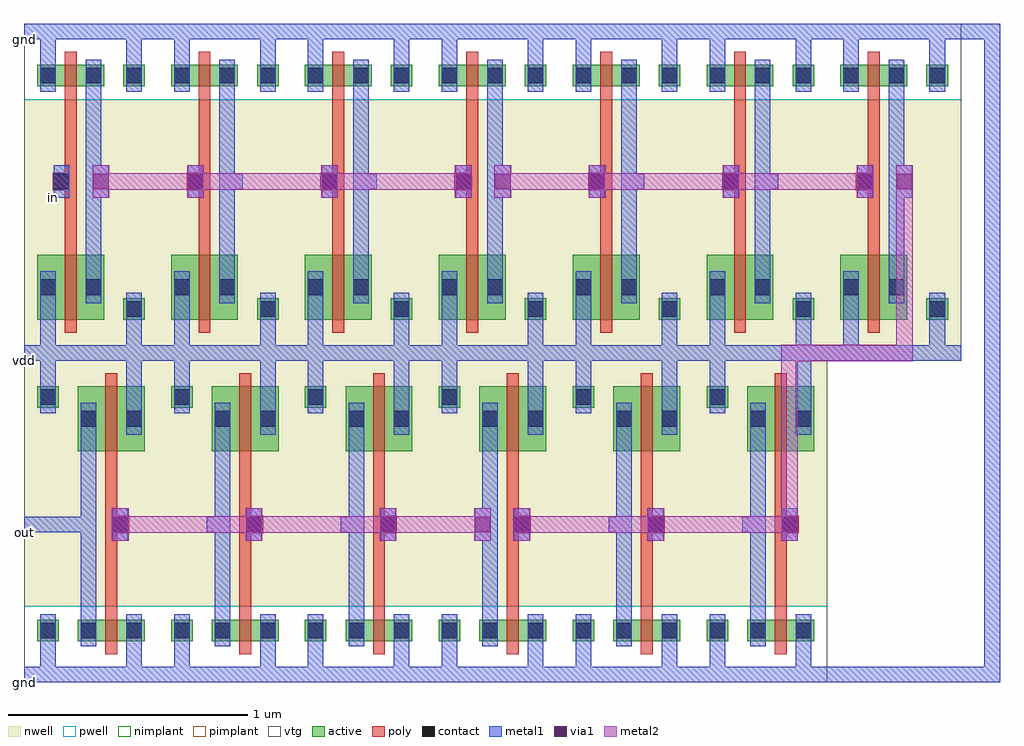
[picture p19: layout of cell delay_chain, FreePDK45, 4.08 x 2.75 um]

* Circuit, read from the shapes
.subckt delay_chain gnd in out vdd
M1 pinv_6_1/A in gnd gnd nfet w=0.09u l=0.05u
M2 gnd pinv_6_19/A out gnd nfet w=0.09u l=0.05u
M3 pinv_6_1/Z pinv_6_1/A gnd gnd nfet w=0.09u l=0.05u
M4 gnd pinv_6_19/A pinv_6_21/Z gnd nfet w=0.09u l=0.05u
M5 pinv_6_3/Z pinv_6_1/A gnd gnd nfet w=0.09u l=0.05u
M6 gnd pinv_6_19/A pinv_6_19/Z gnd nfet w=0.09u l=0.05u
M7 pinv_6_11/A pinv_6_1/A gnd gnd nfet w=0.09u l=0.05u
M8 gnd pinv_6_13/A pinv_6_19/A gnd nfet w=0.09u l=0.05u
M9 pinv_6_36/Z pinv_6_11/A gnd gnd nfet w=0.09u l=0.05u
M10 gnd pinv_6_13/A pinv_6_15/Z gnd nfet w=0.09u l=0.05u
M11 pinv_6_38/Z pinv_6_11/A gnd gnd nfet w=0.09u l=0.05u
M12 gnd pinv_6_13/A pinv_6_13/Z gnd nfet w=0.09u l=0.05u
M13 pinv_6_13/A pinv_6_11/A gnd gnd nfet w=0.09u l=0.05u
M14 pinv_6_1/A in vdd vdd pfet w=0.27u l=0.05u
M15 vdd pinv_6_19/A out vdd pfet w=0.27u l=0.05u
M16 pinv_6_1/Z pinv_6_1/A vdd vdd pfet w=0.27u l=0.05u
M17 vdd pinv_6_19/A pinv_6_21/Z vdd pfet w=0.27u l=0.05u
M18 pinv_6_3/Z pinv_6_1/A vdd vdd pfet w=0.27u l=0.05u
M19 vdd pinv_6_19/A pinv_6_19/Z vdd pfet w=0.27u l=0.05u
M20 pinv_6_11/A pinv_6_1/A vdd vdd pfet w=0.27u l=0.05u
M21 vdd pinv_6_13/A pinv_6_19/A vdd pfet w=0.27u l=0.05u
M22 pinv_6_36/Z pinv_6_11/A vdd vdd pfet w=0.27u l=0.05u
M23 vdd pinv_6_13/A pinv_6_15/Z vdd pfet w=0.27u l=0.05u
M24 pinv_6_38/Z pinv_6_11/A vdd vdd pfet w=0.27u l=0.05u
M25 vdd pinv_6_13/A pinv_6_13/Z vdd pfet w=0.27u l=0.05u
M26 pinv_6_13/A pinv_6_11/A vdd vdd pfet w=0.27u l=0.05u
.ends

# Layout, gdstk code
from math import pi, radians
import gdstk
lib = gdstk.Library(unit=1e-6, precision=5e-10)
def R(c, l, rs):  # rectangles x0, y0, x1, y1
    for r in rs: c.add(gdstk.rectangle(r[:2], r[2:], *l))
active = (1, 0)
pwell = (2, 0)
nwell = (3, 0)
nimplant = (4, 0)
pimplant = (5, 0)
vtg = (6, 0)
poly = (9, 0)
contact = (10, 0)
metal1 = (11, 0)
via1 = (12, 0)
metal2 = (13, 0)

active_contact_metal1_1x = lib.new_cell('active_contact_metal1_1x1_pn')
R(active_contact_metal1_1x, active, [(0,0.0225,0.09,0.1125), (0,0.0225,0.09,0.1125)])
R(active_contact_metal1_1x, nwell, [(-0.055,-0.0325,0.145,0.1675), (-0.055,-0.0325,0.145,0.1675)])
R(active_contact_metal1_1x, pimplant, [(0,0.0225,0.09,0.1125), (0,0.0225,0.09,0.1125)])
R(active_contact_metal1_1x, contact, [(0.0125,0.035,0.0775,0.1), (0.0125,0.035,0.0775,0.1)])
R(active_contact_metal1_1x, metal1, [(0.0125,0,0.0775,0.135), (0.0125,0,0.0775,0.135)])

pmos_m1_w0_27_a_p = lib.new_cell('pmos_m1_w0_27_a_p')
R(pmos_m1_w0_27_a_p, active, [(0,0,0.28,0.27), (0,0,0.28,0.27)])
R(pmos_m1_w0_27_a_p, nwell, [(-0.055,-0.055,0.335,0.325), (-0.055,-0.055,0.335,0.325)])
R(pmos_m1_w0_27_a_p, pimplant, [(0,0,0.28,0.27), (0,0,0.28,0.27)])
R(pmos_m1_w0_27_a_p, vtg, [(-0.055,-0.055,0.335,0.325), (-0.055,-0.055,0.335,0.325)])
R(pmos_m1_w0_27_a_p, poly, [(0.115,-0.055,0.165,0.325), (0.115,-0.055,0.165,0.325), (0.115,-0.055,0.165,0.325), (0.115,-0.055,0.165,0.325)])
R(pmos_m1_w0_27_a_p, metal1, [(0.0125,0.0675,0.0775,0.2025), (0.0125,0.0675,0.0775,0.2025), (0.2025,0.0675,0.2675,0.2025), (0.2025,0.0675,0.2675,0.2025)])
pmos_m1_w0_27_a_p.add(gdstk.Reference(active_contact_metal1_1x, (0,0.0675)))
pmos_m1_w0_27_a_p.add(gdstk.Reference(active_contact_metal1_1x, (0.19,0.0675)))
pmos_m1_w0_27_a_p.add(gdstk.Reference(active_contact_metal1_1x, (0,0.0675)))
pmos_m1_w0_27_a_p.add(gdstk.Reference(active_contact_metal1_1x, (0.19,0.0675)))
pmos_m1_w0_27_a_p.add(gdstk.Label('S', (0.0125,0.0675), layer=11, texttype=0))
pmos_m1_w0_27_a_p.add(gdstk.Label('D', (0.2025,0.0675), layer=11, texttype=0))
pmos_m1_w0_27_a_p.add(gdstk.Label('G', (0.115,-0.055), layer=9, texttype=0))
pmos_m1_w0_27_a_p.add(gdstk.Label('S', (0.0125,0.0675), layer=11, texttype=0))
pmos_m1_w0_27_a_p.add(gdstk.Label('D', (0.2025,0.0675), layer=11, texttype=0))
pmos_m1_w0_27_a_p.add(gdstk.Label('G', (0.115,-0.055), layer=9, texttype=0))

c_active_contact_metal1_1x = lib.new_cell('active_contact_metal1_1x1_np')
R(c_active_contact_metal1_1x, active, [(0,0.0225,0.09,0.1125)])
R(c_active_contact_metal1_1x, pwell, [(-0.055,-0.0325,0.145,0.1675)])
R(c_active_contact_metal1_1x, nimplant, [(0,0.0225,0.09,0.1125)])
R(c_active_contact_metal1_1x, contact, [(0.0125,0.035,0.0775,0.1)])
R(c_active_contact_metal1_1x, metal1, [(0.0125,0,0.0775,0.135)])

nmos_m1_w0_09_a_p = lib.new_cell('nmos_m1_w0_09_a_p')
R(nmos_m1_w0_09_a_p, active, [(0,0,0.28,0.09), (0,0,0.28,0.09)])
R(nmos_m1_w0_09_a_p, pwell, [(-0.055,-0.055,0.335,0.145), (-0.055,-0.055,0.335,0.145)])
R(nmos_m1_w0_09_a_p, nimplant, [(0,0,0.28,0.09), (0,0,0.28,0.09)])
R(nmos_m1_w0_09_a_p, vtg, [(-0.055,-0.055,0.335,0.145), (-0.055,-0.055,0.335,0.145)])
R(nmos_m1_w0_09_a_p, poly, [(0.115,-0.055,0.165,0.145), (0.115,-0.055,0.165,0.145), (0.115,-0.055,0.165,0.145), (0.115,-0.055,0.165,0.145)])
R(nmos_m1_w0_09_a_p, metal1, [(0.0125,-0.0225,0.0775,0.1125), (0.0125,-0.0225,0.0775,0.1125), (0.2025,-0.0225,0.2675,0.1125), (0.2025,-0.0225,0.2675,0.1125)])
nmos_m1_w0_09_a_p.add(gdstk.Reference(c_active_contact_metal1_1x, (0,-0.0225)))
nmos_m1_w0_09_a_p.add(gdstk.Reference(c_active_contact_metal1_1x, (0.19,-0.0225)))
nmos_m1_w0_09_a_p.add(gdstk.Reference(c_active_contact_metal1_1x, (0,-0.0225)))
nmos_m1_w0_09_a_p.add(gdstk.Reference(c_active_contact_metal1_1x, (0.19,-0.0225)))
nmos_m1_w0_09_a_p.add(gdstk.Label('S', (0.0125,-0.0225), layer=11, texttype=0))
nmos_m1_w0_09_a_p.add(gdstk.Label('D', (0.2025,-0.0225), layer=11, texttype=0))
nmos_m1_w0_09_a_p.add(gdstk.Label('G', (0.115,-0.055), layer=9, texttype=0))
nmos_m1_w0_09_a_p.add(gdstk.Label('S', (0.0125,-0.0225), layer=11, texttype=0))
nmos_m1_w0_09_a_p.add(gdstk.Label('D', (0.2025,-0.0225), layer=11, texttype=0))
nmos_m1_w0_09_a_p.add(gdstk.Label('G', (0.115,-0.055), layer=9, texttype=0))

c_active_contact_metal1_1x_ = lib.new_cell('active_contact_metal1_1x1_nn')
R(c_active_contact_metal1_1x_, active, [(0,0.0225,0.09,0.1125), (0,0.0225,0.09,0.1125)])
R(c_active_contact_metal1_1x_, nwell, [(-0.055,-0.0325,0.145,0.1675), (-0.055,-0.0325,0.145,0.1675)])
R(c_active_contact_metal1_1x_, nimplant, [(0,0.0225,0.09,0.1125), (0,0.0225,0.09,0.1125)])
R(c_active_contact_metal1_1x_, contact, [(0.0125,0.035,0.0775,0.1), (0.0125,0.035,0.0775,0.1)])
R(c_active_contact_metal1_1x_, metal1, [(0.0125,0,0.0775,0.135), (0.0125,0,0.0775,0.135)])

c_active_contact_metal1_1x__ = lib.new_cell('active_contact_metal1_1x1_pp')
R(c_active_contact_metal1_1x__, active, [(0,0.0225,0.09,0.1125)])
R(c_active_contact_metal1_1x__, pwell, [(-0.055,-0.0325,0.145,0.1675)])
R(c_active_contact_metal1_1x__, pimplant, [(0,0.0225,0.09,0.1125)])
R(c_active_contact_metal1_1x__, contact, [(0.0125,0.035,0.0775,0.1)])
R(c_active_contact_metal1_1x__, metal1, [(0.0125,0,0.0775,0.135)])

poly_contact_metal1_1x1 = lib.new_cell('poly_contact_metal1_1x1')
R(poly_contact_metal1_1x1, poly, [(0,0.03,0.075,0.105), (0,0.03,0.075,0.105)])
R(poly_contact_metal1_1x1, contact, [(0.005,0.035,0.07,0.1), (0.005,0.035,0.07,0.1)])
R(poly_contact_metal1_1x1, metal1, [(0.005,0,0.07,0.135), (0.005,0,0.07,0.135)])

pinv_6 = lib.new_cell('pinv_6')
R(pinv_6, pwell, [(0,-0.0325,0.56,0.285)])
R(pinv_6, nwell, [(0,0.285,0.56,1.3775)])
R(pinv_6, vtg, [(0,-0.0325,0.56,0.285), (0,0.285,0.56,1.3775)])
R(pinv_6, poly, [(0.17,0.085,0.22,0.88), (0.1575,0.59,0.17,0.665)])
R(pinv_6, metal1, [(0,-0.0325,0.56,0.0325), (0.0675,-0.0325,0.1325,0.1175), (0.4275,0,0.4925,0.185), (0.2575,0.1175,0.3225,1.0025), (0.125,0.56,0.19,0.695), (0.29,0.595,0.355,0.66), (0.0675,1.0025,0.1325,1.3775), (0.4275,1.16,0.4925,1.345), (0,1.3125,0.56,1.3775)])
pinv_6.add(gdstk.Reference(pmos_m1_w0_27_a_p, (0.055,0.935)))
pinv_6.add(gdstk.Reference(nmos_m1_w0_09_a_p, (0.055,0.14)))
pinv_6.add(gdstk.Reference(c_active_contact_metal1_1x_, (0.415,1.0925)))
pinv_6.add(gdstk.Reference(c_active_contact_metal1_1x__, (0.415,0.1175)))
pinv_6.add(gdstk.Reference(poly_contact_metal1_1x1, (0.12,0.56)))
pinv_6.add(gdstk.Label('A', (0.125,0.56), layer=11, texttype=0))
pinv_6.add(gdstk.Label('Z', (0.29,0.595), layer=11, texttype=0))
pinv_6.add(gdstk.Label('vdd', (0,1.3125), layer=11, texttype=0))
pinv_6.add(gdstk.Label('gnd', (0,-0.0325), layer=11, texttype=0))

metal1_via1_metal2_1x1 = lib.new_cell('metal1_via1_metal2_1x1')
R(metal1_via1_metal2_1x1, metal1, [(0.0025,0,0.0675,0.135), (0.0025,0,0.0675,0.135)])
R(metal1_via1_metal2_1x1, via1, [(0.0025,0.035,0.0675,0.1), (0.0025,0.035,0.0675,0.1)])
R(metal1_via1_metal2_1x1, metal2, [(0,0,0.07,0.135), (0,0,0.07,0.135)])

delay_chain = lib.new_cell('delay_chain')
R(delay_chain, metal1, [(0,-0.0325,3.92,0.0325), (0,-0.0325,3.92,0.0325), (3.92,-0.0325,4.05,0.0325), (3.92,-0.0325,4.05,0.0325), (4.0175,-0.0325,4.0825,0.0325), (4.0175,-0.0325,4.0825,0.0325), (4.0175,0,4.0825,2.69), (4.0175,0,4.0825,2.69), (0,0.595,0.205,0.66), (0,0.595,0.205,0.66), (0,1.3125,3.92,1.3775), (0,1.3125,3.92,1.3775), (0.125,1.995,0.19,2.13), (0.125,1.995,0.19,2.13), (0,2.6575,3.92,2.7225), (0,2.6575,3.92,2.7225), (3.92,2.6575,4.05,2.7225), (3.92,2.6575,4.05,2.7225), (4.0175,2.6575,4.0825,2.7225), (4.0175,2.6575,4.0825,2.7225)])
R(delay_chain, metal2, [(0.4025,0.5925,0.9625,0.6625), (0.4025,0.5925,0.9625,0.6625), (0.9625,0.5925,1.5225,0.6625), (0.9625,0.5925,1.5225,0.6625), (1.5225,0.5925,1.9175,0.6625), (1.5225,0.5925,1.9175,0.6625), (2.0825,0.5925,2.6425,0.6625), (2.0825,0.5925,2.6425,0.6625), (2.6425,0.5925,3.2025,0.6625), (2.6425,0.5925,3.2025,0.6625), (3.1675,0.6275,3.2375,1.345), (3.1675,0.6275,3.2375,1.345), (3.1675,1.31,3.2375,1.38), (3.1675,1.31,3.2375,1.38), (3.2025,1.31,3.6825,1.38), (3.2025,1.31,3.6825,1.38), (3.6475,1.31,3.7175,1.38), (3.6475,1.31,3.7175,1.38), (3.6475,1.345,3.7175,2.0625), (3.6475,1.345,3.7175,2.0625), (0.3225,2.0275,0.7175,2.0975), (0.3225,2.0275,0.7175,2.0975), (0.7175,2.0275,1.2775,2.0975), (0.7175,2.0275,1.2775,2.0975), (1.2775,2.0275,1.8375,2.0975), (1.2775,2.0275,1.8375,2.0975), (2.0025,2.0275,2.3975,2.0975), (2.0025,2.0275,2.3975,2.0975), (2.3975,2.0275,2.9575,2.0975), (2.3975,2.0275,2.9575,2.0975), (2.9575,2.0275,3.5175,2.0975), (2.9575,2.0275,3.5175,2.0975)])
delay_chain.add(gdstk.Reference(pinv_6, (0,2.69), x_reflection=True))
delay_chain.add(gdstk.Reference(pinv_6, (0.56,2.69), x_reflection=True))
delay_chain.add(gdstk.Reference(metal1_via1_metal2_1x1, (0.6825,1.995)))
delay_chain.add(gdstk.Reference(pinv_6, (1.12,2.69), x_reflection=True))
delay_chain.add(gdstk.Reference(metal1_via1_metal2_1x1, (1.2425,1.995)))
delay_chain.add(gdstk.Reference(pinv_6, (1.68,2.69), x_reflection=True))
delay_chain.add(gdstk.Reference(metal1_via1_metal2_1x1, (1.8025,1.995)))
delay_chain.add(gdstk.Reference(pinv_6, (2.24,2.69), x_reflection=True))
delay_chain.add(gdstk.Reference(metal1_via1_metal2_1x1, (2.3625,1.995)))
delay_chain.add(gdstk.Reference(pinv_6, (2.8,2.69), x_reflection=True))
delay_chain.add(gdstk.Reference(metal1_via1_metal2_1x1, (2.9225,1.995)))
delay_chain.add(gdstk.Reference(pinv_6, (3.36,2.69), x_reflection=True))
delay_chain.add(gdstk.Reference(metal1_via1_metal2_1x1, (3.4825,1.995)))
delay_chain.add(gdstk.Reference(pinv_6, (3.36,0), rotation=pi, x_reflection=True))
delay_chain.add(gdstk.Reference(metal1_via1_metal2_1x1, (3.1675,0.56)))
delay_chain.add(gdstk.Reference(pinv_6, (2.8,0), rotation=pi, x_reflection=True))
delay_chain.add(gdstk.Reference(metal1_via1_metal2_1x1, (2.6075,0.56)))
delay_chain.add(gdstk.Reference(pinv_6, (2.24,0), rotation=pi, x_reflection=True))
delay_chain.add(gdstk.Reference(metal1_via1_metal2_1x1, (2.0475,0.56)))
delay_chain.add(gdstk.Reference(pinv_6, (1.68,0), rotation=pi, x_reflection=True))
delay_chain.add(gdstk.Reference(metal1_via1_metal2_1x1, (1.4875,0.56)))
delay_chain.add(gdstk.Reference(pinv_6, (1.12,0), rotation=pi, x_reflection=True))
delay_chain.add(gdstk.Reference(metal1_via1_metal2_1x1, (0.9275,0.56)))
delay_chain.add(gdstk.Reference(pinv_6, (0.56,0), rotation=pi, x_reflection=True))
delay_chain.add(gdstk.Reference(metal1_via1_metal2_1x1, (0.3675,0.56)))
delay_chain.add(gdstk.Reference(metal1_via1_metal2_1x1, (0.2875,1.995)))
delay_chain.add(gdstk.Reference(metal1_via1_metal2_1x1, (1.9675,1.995)))
delay_chain.add(gdstk.Reference(metal1_via1_metal2_1x1, (3.6475,1.995)))
delay_chain.add(gdstk.Reference(metal1_via1_metal2_1x1, (1.8825,0.56)))
delay_chain.add(gdstk.Reference(pinv_6, (0,2.69), x_reflection=True))
delay_chain.add(gdstk.Reference(pinv_6, (0.56,2.69), x_reflection=True))
delay_chain.add(gdstk.Reference(metal1_via1_metal2_1x1, (0.6825,1.995)))
delay_chain.add(gdstk.Reference(pinv_6, (1.12,2.69), x_reflection=True))
delay_chain.add(gdstk.Reference(metal1_via1_metal2_1x1, (1.2425,1.995)))
delay_chain.add(gdstk.Reference(pinv_6, (1.68,2.69), x_reflection=True))
delay_chain.add(gdstk.Reference(metal1_via1_metal2_1x1, (1.8025,1.995)))
delay_chain.add(gdstk.Reference(pinv_6, (2.24,2.69), x_reflection=True))
delay_chain.add(gdstk.Reference(metal1_via1_metal2_1x1, (2.3625,1.995)))
delay_chain.add(gdstk.Reference(pinv_6, (2.8,2.69), x_reflection=True))
delay_chain.add(gdstk.Reference(metal1_via1_metal2_1x1, (2.9225,1.995)))
delay_chain.add(gdstk.Reference(pinv_6, (3.36,2.69), x_reflection=True))
delay_chain.add(gdstk.Reference(metal1_via1_metal2_1x1, (3.4825,1.995)))
delay_chain.add(gdstk.Reference(pinv_6, (3.36,0), rotation=pi, x_reflection=True))
delay_chain.add(gdstk.Reference(metal1_via1_metal2_1x1, (3.1675,0.56)))
delay_chain.add(gdstk.Reference(pinv_6, (2.8,0), rotation=pi, x_reflection=True))
delay_chain.add(gdstk.Reference(metal1_via1_metal2_1x1, (2.6075,0.56)))
delay_chain.add(gdstk.Reference(pinv_6, (2.24,0), rotation=pi, x_reflection=True))
delay_chain.add(gdstk.Reference(metal1_via1_metal2_1x1, (2.0475,0.56)))
delay_chain.add(gdstk.Reference(pinv_6, (1.68,0), rotation=pi, x_reflection=True))
delay_chain.add(gdstk.Reference(metal1_via1_metal2_1x1, (1.4875,0.56)))
delay_chain.add(gdstk.Reference(pinv_6, (1.12,0), rotation=pi, x_reflection=True))
delay_chain.add(gdstk.Reference(metal1_via1_metal2_1x1, (0.9275,0.56)))
delay_chain.add(gdstk.Reference(pinv_6, (0.56,0), rotation=pi, x_reflection=True))
delay_chain.add(gdstk.Reference(metal1_via1_metal2_1x1, (0.3675,0.56)))
delay_chain.add(gdstk.Reference(metal1_via1_metal2_1x1, (0.2875,1.995)))
delay_chain.add(gdstk.Reference(metal1_via1_metal2_1x1, (1.9675,1.995)))
delay_chain.add(gdstk.Reference(metal1_via1_metal2_1x1, (3.6475,1.995)))
delay_chain.add(gdstk.Reference(metal1_via1_metal2_1x1, (1.8825,0.56)))
delay_chain.add(gdstk.Label('out', (0,0.595), layer=11, texttype=0))
delay_chain.add(gdstk.Label('vdd', (0,1.3125), layer=11, texttype=0))
delay_chain.add(gdstk.Label('gnd', (0,-0.0325), layer=11, texttype=0))
delay_chain.add(gdstk.Label('gnd', (0,2.6575), layer=11, texttype=0))
delay_chain.add(gdstk.Label('in', (0.125,1.995), layer=11, texttype=0))
delay_chain.add(gdstk.Label('out', (0,0.595), layer=11, texttype=0))
delay_chain.add(gdstk.Label('vdd', (0,1.3125), layer=11, texttype=0))
delay_chain.add(gdstk.Label('gnd', (0,-0.0325), layer=11, texttype=0))
delay_chain.add(gdstk.Label('gnd', (0,2.6575), layer=11, texttype=0))
delay_chain.add(gdstk.Label('in', (0.125,1.995), layer=11, texttype=0))

lib.write_gds('delay_chain.gds')
